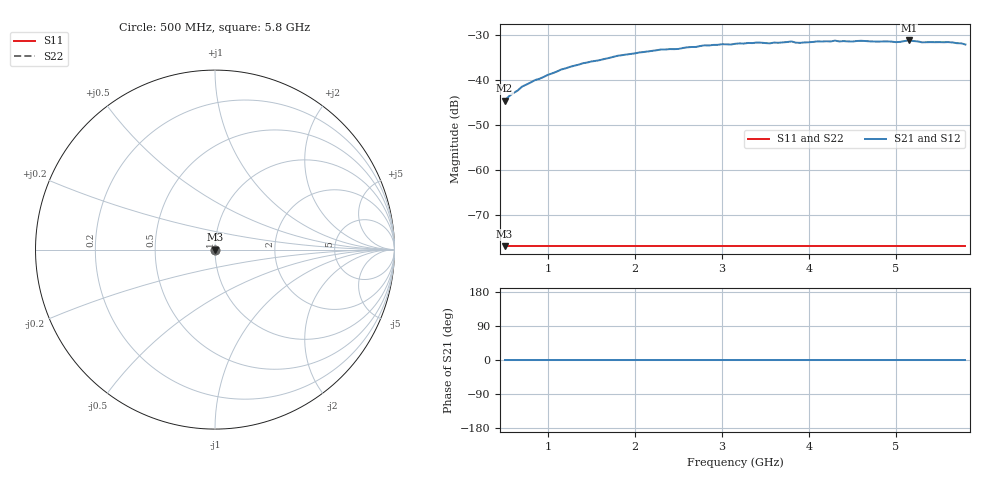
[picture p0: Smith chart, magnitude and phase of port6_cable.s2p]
# GHZ S RI R 50
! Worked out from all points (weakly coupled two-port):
!   107 points, 500 MHz to 5.8 GHz, reference 50 ohm
!   highest |S21| = -31.19 dB at 5.15 GHz (marker M1); lowest = -44.6 dB at 500 MHz (marker M2)
!   lowest |S11| = -77.0 dB at 500 MHz (marker M3), VSWR 1.00, Z = 50 + j0.01 ohm
!   |S11| at or under -10 dB: start of sweep to end of sweep
!   |S22| runs from -77.0 to -77.0 dB; largest |S21 - S12| = 0
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0.5  0.0001 0.0001  0.00591 0  0.00591 0  0.0001 0.0001
0.7  0.0001 0.0001  0.00844 0  0.00844 0  0.0001 0.0001
0.85  0.0001 0.0001  0.00999 0  0.00999 0  0.0001 0.0001
1.15  0.0001 0.0001  0.0131 0  0.0131 0  0.0001 0.0001
1.4  0.0001 0.0001  0.0154 0  0.0154 0  0.0001 0.0001
1.8  0.0001 0.0001  0.0186 0  0.0186 0  0.0001 0.0001
2.3  0.0001 0.0001  0.0219 0  0.0219 0  0.0001 0.0001
2.5  0.0001 0.0001  0.0222 0  0.0222 0  0.0001 0.0001
2.8  0.0001 0.0001  0.0244 0  0.0244 0  0.0001 0.0001
3.15  0.0001 0.0001  0.0253 0  0.0253 0  0.0001 0.0001
3.4  0.0001 0.0001  0.0262 0  0.0262 0  0.0001 0.0001
3.55  0.0001 0.0001  0.0256 0  0.0256 0  0.0001 0.0001
3.8  0.0001 0.0001  0.0269 0  0.0269 0  0.0001 0.0001
3.9  0.0001 0.0001  0.0259 0  0.0259 0  0.0001 0.0001
4.05  0.0001 0.0001  0.0266 0  0.0266 0  0.0001 0.0001
4.3  0.0001 0.0001  0.0275 0  0.0275 0  0.0001 0.0001
4.95  0.0001 0.0001  0.0268 0  0.0268 0  0.0001 0.0001
5.05  0.0001 0.0001  0.0266 0  0.0266 0  0.0001 0.0001
5.15  0.0001 0.0001  0.0276 0  0.0276 0  0.0001 0.0001
5.3  0.0001 0.0001  0.0263 0  0.0263 0  0.0001 0.0001
5.6  0.0001 0.0001  0.0264 0  0.0264 0  0.0001 0.0001
5.8  0.0001 0.0001  0.0249 0  0.0249 0  0.0001 0.0001
